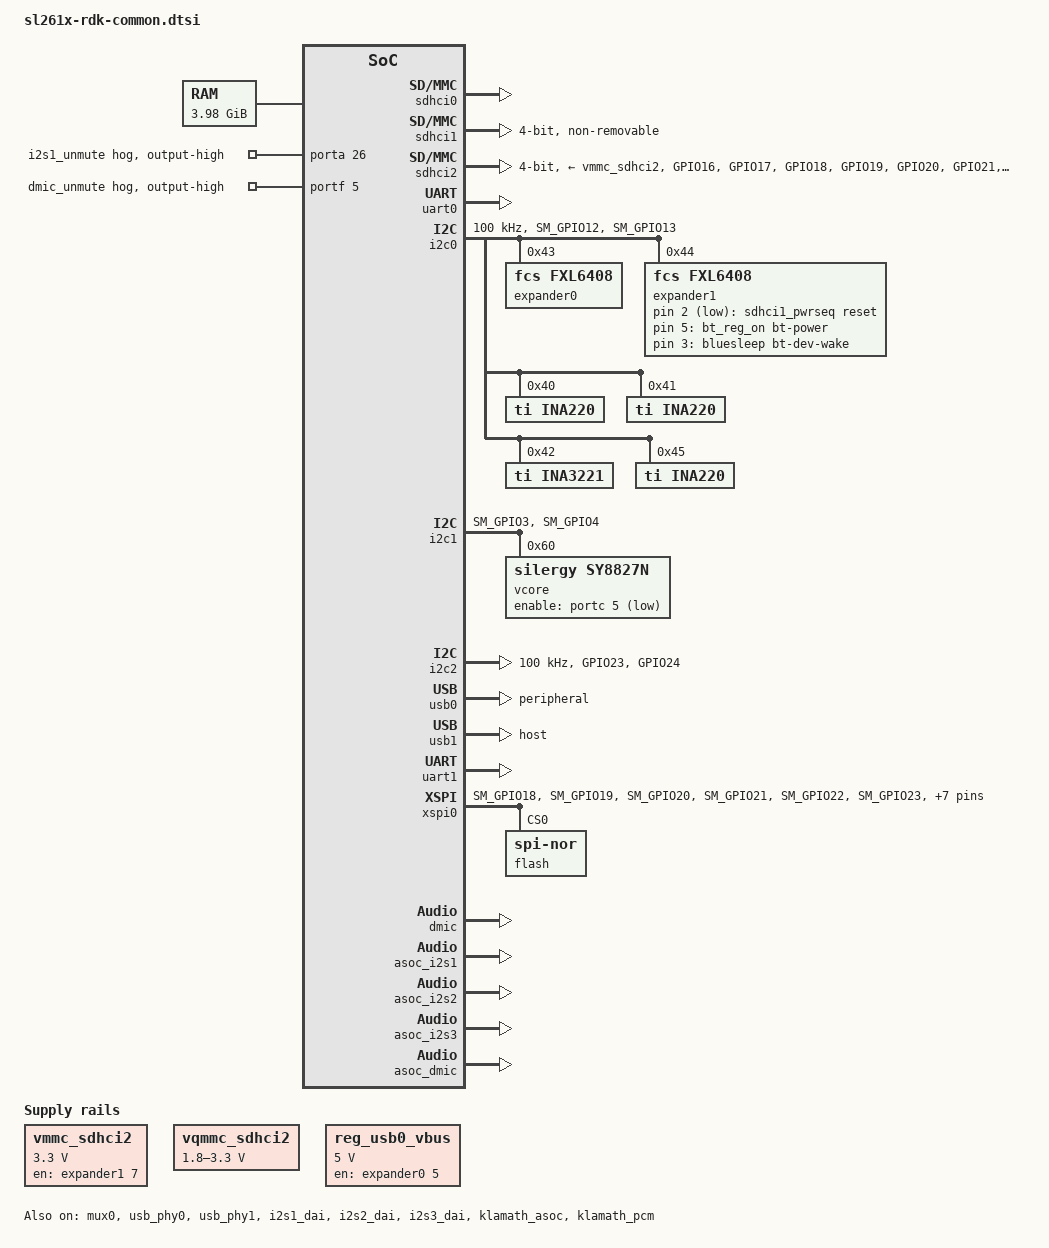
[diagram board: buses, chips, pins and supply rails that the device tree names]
// SPDX-License-Identifier: (GPL-2.0 OR MIT)
/*
 * Copyright (C) 2025 Synaptics Incorporated
 *
 * Author: Jisheng Zhang <jszhang@kernel.org>
 */

#include <dt-bindings/gpio/gpio.h>

/ {
	cpus {
		cpu@0 {
			cpu0-supply = <&vcore>;
		};
	};

	chosen {
		stdout-path = "serial0:115200n8";
	};

	memory {
		device_type = "memory";
		reg = <0x0 0x01000000 0x0 0xdf000000>,
		      <0x1 0xe0000000 0x0 0x20000000>;
	};

	reserved-memory {
		#address-cells = <2>;
		#size-cells = <2>;
		ranges;

		vdev0vring0: vdev0vring0@0 {
			compatible = "shared-dma-pool";
			reg = <0 0x0000000 0 0x8000>;
			no-map;
		};

		vdev0vring1: vdev0vring1@8000 {
			compatible = "shared-dma-pool";
			reg = <0 0x0008000 0 0x8000>;
			no-map;
		};

		vdevbuffer: vdevbuffer {
			compatible = "shared-dma-pool";
			reg = <0 0x0010000 0 0xf0000>;
			no-map;
		};

		linux,cma {
			compatible = "shared-dma-pool";
			reg = <0x00 0x5c000000 0x00 0x20000000>;
			linux,cma-default;
			reusable;
		};
	};

	rpmsg {
		compatible = "syna,rpmsg";
		mbox-names = "rpmsg";
		mboxes = <&ipc 0>;
		syna,vdev-nums = <1>;
		reg = <0x0 0x0000000 0x0 0x10000>;
		memory-region = <&vdevbuffer>;
	};

	dmabuf_heap {
		compatible = "syna,berlin-heaps";
		pool-num = <0>;
		reg-names = "NonSecure-NC";
		reg = <0 0x7f800000 0 0x00800000>;
		attributes-num-per-pool = <2>;
		pool-attributes = <0x00000105 0x00000F3A>;
	};

	sdhci1_pwrseq: sdhci1-pwrseq {
		compatible = "mmc-pwrseq-simple";
		reset-gpios = <&expander1 2 GPIO_ACTIVE_LOW>;
		post-power-on-delay-ms = <50>;
	};

	regulators {
		compatible = "simple-bus";
		#address-cells = <1>;
		#size-cells = <0>;

		vmmc_sdhci2: vmmc_sdhci2 {
			compatible = "regulator-fixed";
			regulator-min-microvolt = <3300000>;
			regulator-max-microvolt = <3300000>;
			regulator-name = "vmmc_sdio";
			enable-active-high;
			regulator-boot-on;
			gpio = <&expander1 7 GPIO_ACTIVE_HIGH>;
		};

		vqmmc_sdhci2: vqmmc_sdhci2 {
			compatible = "regulator-gpio";
			regulator-min-microvolt = <1800000>;
			regulator-max-microvolt = <3300000>;
			regulator-name = "vqmmc_sdio";
			regulator-type = "voltage";
			enable-active-high;
			gpios = <&expander0 0 GPIO_ACTIVE_HIGH>;
			states = <1800000 0x0
				  3300000 0x1>;
		};

		reg_usb0_vbus: usb0_vbus {
			compatible = "regulator-fixed";
			regulator-name = "usb0_vbus";
			regulator-min-microvolt = <5000000>;
			regulator-max-microvolt = <5000000>;
			gpio = <&expander0 5 GPIO_ACTIVE_HIGH>;
			enable-active-high;
		};
	};

	bt_reg_on: bt_reg_on {
		compatible = "syna,rfkill";
		bt-power-gpio = <&expander1 5 GPIO_ACTIVE_HIGH>;
	};

	bluesleep: bluesleep {
		compatible = "syna,bluesleep";
		bt-dev-wake-gpio = <&expander1 3 GPIO_ACTIVE_HIGH>;
	};
};

&pinctrl {
	sdhci2_pmux: sdhci2-pmux {
		groups = "GPIO16", "GPIO17", "GPIO18", "GPIO19", "GPIO20", "GPIO21", "GPIO22";
		function = "sdio2";
		drive-strength = <7>;
	};

	i2c2_pmux: i2c2-pmux {
		groups = "GPIO23", "GPIO24";
		function = "tw2";
		drive-strength = <7>;
	};

	i2s1_pmux: i2s1-pmux {
		groups = "GPIO0", "GPIO1", "GPIO2", "GPIO3", "GPIO4";
		function = "i2s1";
	};

	i2s2_pmux: i2s2-pmux {
		groups = "GPIO5", "GPIO6", "GPIO7", "GPIO8", "GPIO11";
		function = "i2s2";
	};

	i2s3_pmux: i2s3-pmux {
		groups = "GPIO12", "GPIO13", "GPIO14", "GPIO15";
		function = "i2s3";
	};
};

&sm_pinctrl {
	eth1_phy_rst_pmux: eth1_phy_rst-pmux {
		groups = "SM_GPIO35";
		function = "gpio";
	};

	i2c0_pmux: i2c0-pmux {
		groups = "SM_GPIO12", "SM_GPIO13";
		function = "tw0";
		drive-strength = <7>;
	};

	i2c1_pmux: i2c1-pmux {
		groups = "SM_GPIO3", "SM_GPIO4";
		function = "tw1";
		drive-strength = <7>;
	};

	vcore_gpio_pmux: vcore-gpio-pmux {
		groups = "SM_GPIO5";
		function = "gpio";
	};

	xspi0_pmux: xspi0-pmux {
		groups = "SM_GPIO18", "SM_GPIO19", "SM_GPIO20", "SM_GPIO21", "SM_GPIO22", "SM_GPIO23", "SM_GPIO24",
			 "SM_GPIO25","SM_GPIO26", "SM_GPIO27", "SM_GPIO28", "SM_GPIO29", "SM_GPIO30";
		function = "xspi";
		drive-strength = <7>;
	};

	dmic_mute_gpio_pmux: dmic_mute_gpio-pmux {
		groups = "SM_GPIO37";
		function = "gpio";
	};
};

&ipc {
	status = "okay";
};

&mux0 {
	status = "okay";
};

&pdma0 {
	status = "okay";
};

&pdma1 {
	status = "okay";
};

&sdhci0 {
	status = "okay";
	sdclkdl-dc = /bits/ 8 <20>;
	pad-sp = /bits/ 8 <10>;
	pad-sn = /bits/ 8 <10>;
	mmc-ddr-1_8v;
	mmc-hs200-1_8v;
	mmc-hs400-1_8v;
	mmc-hs400-enhanced-strobe;
};

&sdhci1 {
	status = "okay";
	bus-width = <4>;
	sdclkdl-dc = /bits/ 8 <50>;
	pad-sp = /bits/ 8 <12>;
	pad-sn = /bits/ 8 <12>;
	no-sd;
	no-mmc;
	non-removable;
	mmc-pwrseq = <&sdhci1_pwrseq>;
	mode1-tune;
	keep-power-in-suspend;
};

&sdhci2 {
	status = "okay";
	pinctrl-0 = <&sdhci2_pmux>;
	pinctrl-names = "default";
	bus-width = <4>;
	no-sdio;
	no-mmc;
	disable-wp;
	vmmc-supply = <&vmmc_sdhci2>;
	vqmmc-supply = <&vqmmc_sdhci2>;
	mux-states = <&mux0 0 3>;
};

&uart0 {
	status = "okay";
};

&i2c0 {
	status = "okay";
	pinctrl-names = "default";
	pinctrl-0 = <&i2c0_pmux>;
	no-irq-suspend;
	clock-frequency = <100000>;

	expander0: gpio@43 {
		compatible = "fcs,fxl6408";
		reg = <0x43>;
		gpio-controller;
		#gpio-cells = <2>;
	};

	expander1: gpio@44 {
		compatible = "fcs,fxl6408";
		reg = <0x44>;
		gpio-controller;
		#gpio-cells = <2>;
	};

	ina220@40 {
		compatible = "ti,ina220";
		reg = <0x40>;
	};

	ina220@41 {
		compatible = "ti,ina220";
		reg = <0x41>;
	};

	ina3221@42{
		compatible = "ti,ina3221";
		reg = <0x42>;
		#address-cells = <1>;
		#size-cells = <0>;

		input@0 {
			reg = <0x0>;
			label = "VCORE";
		};

		input@1 {
			reg = <0x1>;
			label = "1v2";
		};

		input@2 {
			reg = <0x2>;
			label = "2v5";
		};
	};

	ina220@45 {
		compatible = "ti,ina220";
		reg = <0x45>;
	};
};

&i2c1 {
	status = "okay";
	pinctrl-names = "default";
	pinctrl-0 = <&i2c1_pmux>;

	vcore: regulator@60 {
		compatible = "silergy,sy8827n";
		regulator-name = "vcore";
		regulator-min-microvolt = <700000>;
		regulator-max-microvolt = <987500>;
		regulator-always-on;
		regulator-boot-on;
		regulator-active-discharge = <0>;
		pinctrl-names = "default";
		pinctrl-0 = <&vcore_gpio_pmux>;
		enable-gpios = <&portc 5 GPIO_ACTIVE_LOW>;
		silergy,vsel-step = <1>;
		reg = <0x60>;
	};
};

&i2c2 {
	status = "okay";
	pinctrl-names = "default";
	pinctrl-0 = <&i2c2_pmux>;
	clock-frequency = <100000>;
};

&usb0 {
	status = "okay";
	dr_mode = "peripheral";
};

&usb_phy0 {
	status = "okay";
};

&usb1 {
	status = "okay";
	dr_mode = "host";
};

&usb_phy1{
	status = "okay";
};

&uart1 {
	status = "okay";
	/delete-property/ dmas;
	/delete-property/ dma-names;
};

&xspi0 {
	status = "okay";
	pinctrl-0 = <&xspi0_pmux>;
	pinctrl-names = "default";

	flash@0 {
		compatible = "jedec,spi-nor";
		reg = <0>;
		status = "okay";
	};
};

&i2s1_dai {
	status = "okay";
	pinctrl-0 = <&i2s1_pmux>;
	pinctrl-names = "default";
	clk_src = "APLL";
	clk_feed = "I2S1_DI";
	output-mclk;
};

&i2s2_dai {
	status = "okay";
	pinctrl-0 = <&i2s2_pmux>;
	pinctrl-names = "default";
	clk_src = "APLL";
	clk_feed = "I2S3_DI";
	output-mclk;
};

&i2s3_dai {
	status = "okay";
	pinctrl-0 = <&i2s3_pmux>;
	pinctrl-names = "default";
	clk_src = "APLL";
	clk_feed = "I2S3_DI";
};

&dmic {
	status = "okay";
	pdm-type = <1>;
	pdm-clk-sel = <1>;
};

&klamath_asoc {
	status = "okay";

	asoc_i2s1: asoc-i2s1 {
		status = "okay";
		stream-name = "asoc-i2s1";
		link-name = "asoc-i2s1";
		format = "i2s";
		bitclock-master;
		frame-master;
		cpu-node = <&i2s1_dai>;
		codec-name = "snd-soc-dummy";
		codec-dai-name = "snd-soc-dummy-dai";
		platform-node = <&klamath_pcm>;
	};

	asoc_i2s2: asoc-i2s2 {
		status = "okay";
		stream-name = "asoc-i2s2";
		link-name = "asoc-i2s2";
		format = "i2s";
		bitclock-master;
		frame-master;
		cpu-node = <&i2s2_dai>;
		codec-name = "snd-soc-dummy";
		codec-dai-name = "snd-soc-dummy-dai";
		platform-node = <&klamath_pcm>;
	};

	asoc_i2s3: asoc-i2s3 {
		status = "okay";
		stream-name = "asoc-i2s3";
		link-name = "asoc-i2s3";
		format = "i2s";
		bitclock-master;
		frame-master;
		cpu-node = <&i2s3_dai>;
		codec-name = "snd-soc-dummy";
		codec-dai-name = "snd-soc-dummy-dai";
		platform-node = <&klamath_pcm>;
	};

	asoc_dmic: asoc-dmic {
		status = "okay";
		stream-name = "dummy-dmic";
		link-name = "dummy-dmic";
		cpu-node = <&dmic>;
		codec-name = "snd-soc-dummy";
		codec-dai-name = "snd-soc-dummy-dai";
		platform-node = <&klamath_pcm>;
	};
};

&klamath_pcm {
	status = "okay";
};

&porta {
	i2s1_unmute {
		gpio-hog;
		gpios = <26 GPIO_ACTIVE_HIGH>;
		output-high;
	};
};

&portf {
	pinctrl-0 = <&dmic_mute_gpio_pmux>;
	pinctrl-names = "default";

	dmic_unmute {
		gpio-hog;
		gpios = <5 GPIO_ACTIVE_HIGH>;
		output-high;
	};
};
